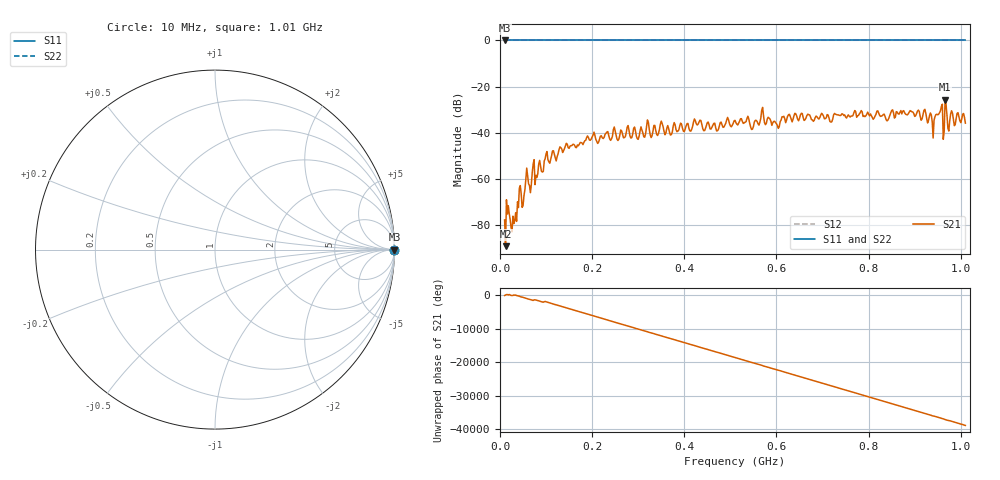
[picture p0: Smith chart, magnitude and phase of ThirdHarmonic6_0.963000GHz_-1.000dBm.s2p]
! 8/16/2025 7:10:49 AM
! C:\ANRITSUVNA\TEMP\TEMP.S2P
! CHANNEL.1
! TR.MEASUREMENT
! RAW.DATA
! RF.CORRECTION.OFF
! AVERAGING.OFF
! IF.BANDWIDTH: 5KHZ
! SWEEPTYPE:  FREQ.SWEEP(Linear)
! Reference Plane Port Info
! PORT:  PORT1  PORT2
! DISTANCE:  0  m  0  m
! TIME:  0  s  0  s
! PHASE.OFFSET:  0  deg.  0  deg.
! LOSS:  0  dB  0  dB
! REF.LOSS:  0  dB  0  dB
! REF.FREQ:  0  Hz  0  Hz
! Power Info
! POWER:  -20  dBm  -20  dBm
! EFF.POWER:  -20  dBm  -20  dBm
! SOURCE.ATTEN:  0  dB  0  dB
! TEST.ATTEN:  0  dB  0  dB
# GHZ S RI R 50.0
! FREQ.GHZ  S11RE  S11IM  S21RE  S21IM  S12RE  S12IM  S22RE  S22IM
!; PortSelection: Port_12
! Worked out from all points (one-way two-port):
!   501 points, 10 MHz to 1.01 GHz, reference 50 ohm
!   highest |S21| = -25.73 dB at 966 MHz (marker M1); lowest = -89.3 dB at 12 MHz (marker M2)
!   lowest |S11| = 0.0 dB at 10 MHz (marker M3)
!   |S11| at or under -10 dB: nowhere
!   |S22| runs from 0.0 to 0.0 dB; largest |S21 - S12| = 1
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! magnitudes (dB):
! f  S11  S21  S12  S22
! 10 MHz  0.0  -77.9  0.0  0.0
! 12 MHz  0.0  -89.3  0.0  0.0
! 18 MHz  0.0  -71.8  0.0  0.0
! 28 MHz  0.0  -76.3  0.0  0.0
! 42 MHz  0.0  -64.1  0.0  0.0
! 52 MHz  0.0  -67.4  0.0  0.0
! 58 MHz  0.0  -55.4  0.0  0.0
! 66 MHz  0.0  -66.1  0.0  0.0
! 100 MHz  0.0  -49.3  0.0  0.0
! 178 MHz  0.0  -44.5  0.0  0.0
! 344 MHz  0.0  -40.3  0.0  0.0
! 510 MHz  0.0  -34.7  0.0  0.0
! 546 MHz  0.0  -38.7  0.0  0.0
! 568 MHz  0.0  -30.3  0.0  0.0
! 602 MHz  0.0  -36.9  0.0  0.0
! 678 MHz  0.0  -34.5  0.0  0.0
! 844 MHz  0.0  -33.7  0.0  0.0
! 892 MHz  0.0  -30.7  0.0  0.0
! 942 MHz  0.0  -34.6  0.0  0.0
! 956 MHz  0.0  -30.5  0.0  0.0
! 966 MHz  0.0  -25.7  0.0  0.0
! 1.01 GHz  0.0  -35.9  0.0  0.0
